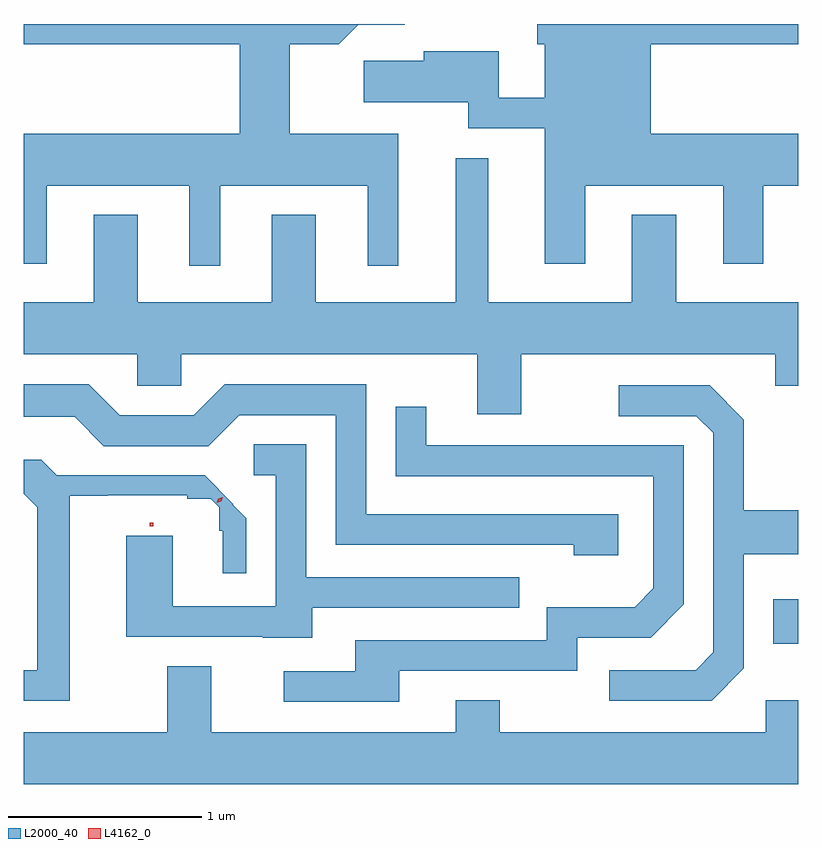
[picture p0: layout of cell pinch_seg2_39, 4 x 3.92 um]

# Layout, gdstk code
import gdstk
lib = gdstk.Library(unit=1e-6, precision=1e-09)
def R(c, l, rs):  # rectangles x0, y0, x1, y1
    for r in rs: c.add(gdstk.rectangle(r[:2], r[2:], *l))
def P(c, l, *ps):  # polygons
    for p in ps: c.add(gdstk.Polygon(p, *l))
L2000_40 = (2000, 40)
L4162_0 = (4162, 0)

pinch_seg2_39 = lib.new_cell('pinch_seg2_39')
R(pinch_seg2_39, L2000_40, [(1226.271,1095.661,1226.4,1095.889)])
P(pinch_seg2_39, L2000_40, [(1223.414,1098.026),(1224.176,1098.026),(1224.176,1097.613),(1224.334,1097.613),(1224.334,1098.294),(1223.774,1098.294),(1223.774,1098.756),(1224.027,1098.756),(1224.127,1098.856),(1224.369,1098.856),(1224.369,1098.86),(1222.4,1098.86),(1222.4,1098.756),(1223.516,1098.756),(1223.516,1098.294),(1222.4,1098.294),(1222.4,1097.621),(1222.519,1097.621),(1222.519,1098.026),(1223.256,1098.026),(1223.256,1097.613),(1223.414,1097.613)],
  [(1225.299,1098.026),(1226.011,1098.026),(1226.011,1097.621),(1226.219,1097.621),(1226.219,1098.026),(1226.4,1098.026),(1226.4,1098.294),(1225.639,1098.294),(1225.639,1098.756),(1226.4,1098.756),(1226.4,1098.86),(1225.051,1098.86),(1225.051,1098.756),(1225.091,1098.756),(1225.091,1098.479),(1224.854,1098.479),(1224.854,1098.719),(1224.466,1098.719),(1224.466,1098.669),(1224.156,1098.669),(1224.156,1098.456),(1224.696,1098.456),(1224.696,1098.321),(1225.091,1098.321),(1225.091,1097.621),(1225.299,1097.621)],
  [(1224.969,1097.156),(1226.281,1097.156),(1226.281,1096.991),(1226.4,1096.991),(1226.4,1097.424),(1225.769,1097.424),(1225.769,1097.874),(1225.541,1097.874),(1225.541,1097.424),(1224.799,1097.424),(1224.799,1098.168),(1224.631,1098.168),(1224.631,1097.424),(1223.909,1097.424),(1223.909,1097.874),(1223.681,1097.874),(1223.681,1097.424),(1222.989,1097.424),(1222.989,1097.874),(1222.761,1097.874),(1222.761,1097.424),(1222.4,1097.424),(1222.4,1097.156),(1222.986,1097.156),(1222.986,1096.991),(1223.214,1096.991),(1223.214,1097.156),(1224.741,1097.156),(1224.741,1096.846),(1224.969,1096.846)],
  [(1225.469,1096.329),(1224.169,1096.329),(1224.169,1096.999),(1223.439,1096.999),(1223.279,1096.839),(1222.897,1096.839),(1222.737,1096.999),(1222.4,1096.999),(1222.4,1096.831),(1222.664,1096.831),(1222.814,1096.681),(1223.352,1096.681),(1223.512,1096.841),(1224.011,1096.841),(1224.011,1096.171),(1225.241,1096.171),(1225.241,1096.116),(1225.469,1096.116)],
  [(1226.119,1095.534),(1226.119,1096.121),(1226.4,1096.121),(1226.4,1096.349),(1226.119,1096.349),(1226.119,1096.817),(1225.942,1096.994),(1225.473,1096.994),(1225.473,1096.836),(1225.874,1096.836),(1225.961,1096.749),(1225.961,1095.617),(1225.869,1095.524),(1225.423,1095.524),(1225.423,1095.366),(1225.952,1095.366)],
  [(1224.339,1095.521),(1225.259,1095.521),(1225.259,1095.691),(1225.637,1095.691),(1225.809,1095.864),(1225.809,1096.684),(1224.479,1096.684),(1224.479,1096.883),(1224.321,1096.883),(1224.321,1096.526),(1225.651,1096.526),(1225.651,1095.947),(1225.554,1095.849),(1225.101,1095.849),(1225.101,1095.679),(1224.111,1095.679),(1224.111,1095.519),(1223.743,1095.519),(1223.743,1095.361),(1224.339,1095.361)],
  [(1223.889,1095.846),(1224.958,1095.846),(1224.958,1096.004),(1223.859,1096.004),(1223.859,1096.689),(1223.588,1096.689),(1223.588,1096.531),(1223.701,1096.531),(1223.701,1095.854),(1223.169,1095.854),(1223.169,1096.219),(1222.931,1096.219),(1222.931,1095.696),(1223.635,1095.696),(1223.635,1095.691),(1223.889,1095.691)],
  [(1222.639,1096.423),(1222.835,1096.423),(1222.835,1096.428),(1223.244,1096.428),(1223.244,1096.41),(1223.367,1096.41),(1223.411,1096.366),(1223.411,1096.243),(1223.429,1096.243),(1223.429,1096.023),(1223.549,1096.023),(1223.549,1096.309),(1223.48,1096.378),(1223.483,1096.381),(1223.335,1096.529),(1222.572,1096.529),(1222.492,1096.609),(1222.4,1096.609),(1222.4,1096.435),(1222.471,1096.364),(1222.471,1095.524),(1222.4,1095.524),(1222.4,1095.366),(1222.639,1095.366)],
  [(1226.4,1095.369),(1226.231,1095.369),(1226.231,1095.204),(1224.859,1095.204),(1224.859,1095.369),(1224.631,1095.369),(1224.631,1095.204),(1223.369,1095.204),(1223.369,1095.544),(1223.141,1095.544),(1223.141,1095.204),(1222.4,1095.204),(1222.4,1094.936),(1226.4,1094.936)])
R(pinch_seg2_39, L4162_0, [(1223.05,1096.266,1223.07,1096.286)])
P(pinch_seg2_39, L4162_0, [(1223.397,1096.387),(1223.397,1096.388),(1223.406,1096.409),(1223.428,1096.417),(1223.429,1096.417),(1223.429,1096.416),(1223.42,1096.395),(1223.398,1096.387)])

lib.write_gds('pinch_seg2_39.gds')
